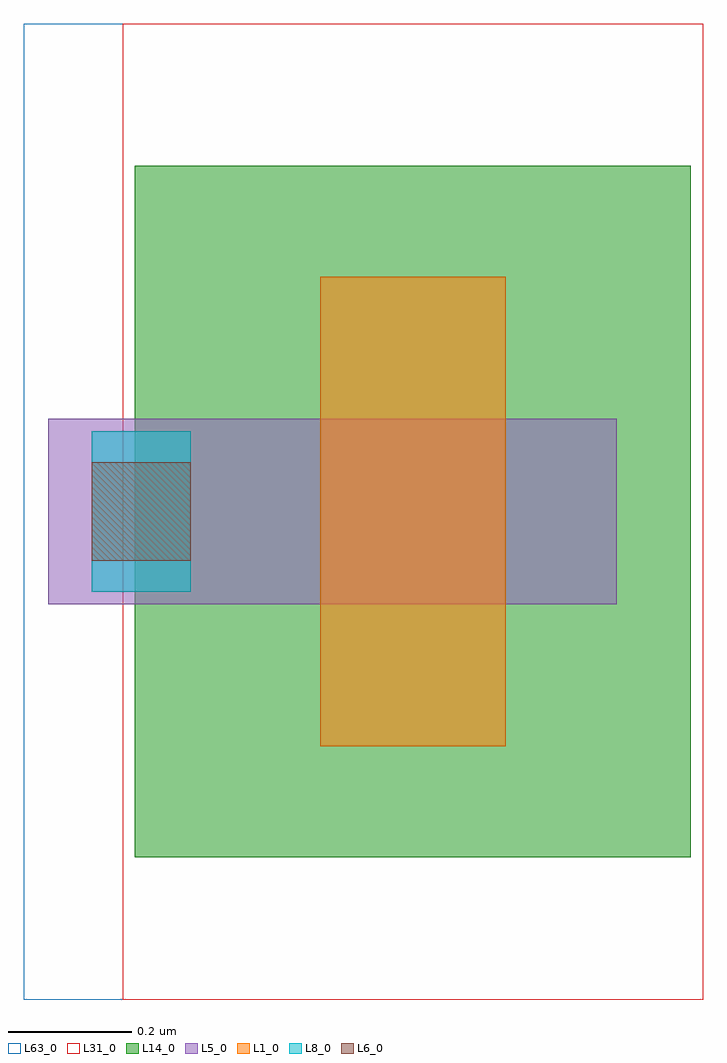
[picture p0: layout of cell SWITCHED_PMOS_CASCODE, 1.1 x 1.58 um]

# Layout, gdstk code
import gdstk
lib = gdstk.Library(unit=1e-6, precision=1e-09)
def R(c, l, rs):  # rectangles x0, y0, x1, y1
    for r in rs: c.add(gdstk.rectangle(r[:2], r[2:], *l))
L1_0 = (1, 0)
L5_0 = (5, 0)
L6_0 = (6, 0)
L8_0 = (8, 0)
L14_0 = (14, 0)
L31_0 = (31, 0)
L63_0 = (63, 0)

switched_pmos_cascode = lib.new_cell('SWITCHED_PMOS_CASCODE')
R(switched_pmos_cascode, L1_0, [(0.29,-0.38,0.59,0.38)])
R(switched_pmos_cascode, L5_0, [(-0.15,-0.15,0.77,0.15)])
R(switched_pmos_cascode, L6_0, [(-0.08,-0.08,0.08,0.08)])
R(switched_pmos_cascode, L8_0, [(-0.08,-0.13,0.08,0.13)])
R(switched_pmos_cascode, L14_0, [(-0.01,-0.56,0.89,0.56)])
R(switched_pmos_cascode, L31_0, [(-0.03,-0.79,0.91,0.79)])
R(switched_pmos_cascode, L63_0, [(-0.19,-0.79,0.91,0.79)])

lib.write_gds('SWITCHED_PMOS_CASCODE.gds')
